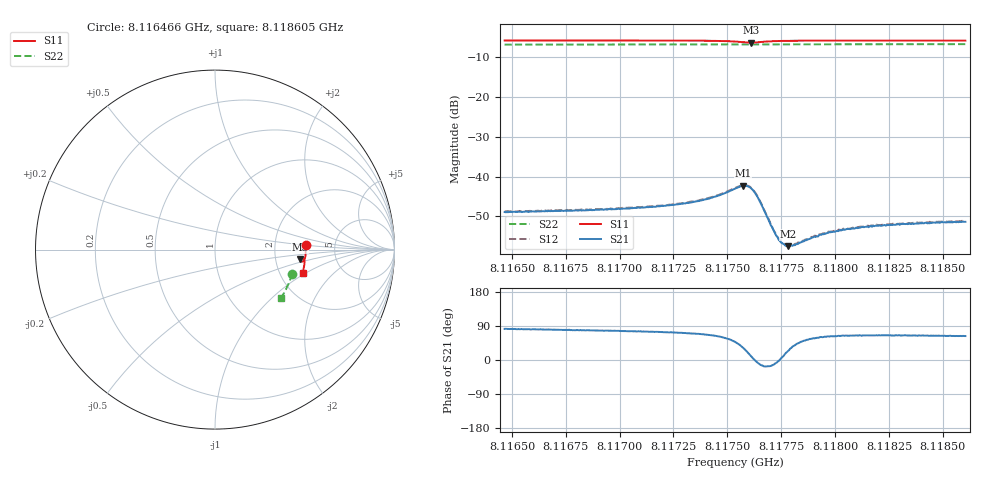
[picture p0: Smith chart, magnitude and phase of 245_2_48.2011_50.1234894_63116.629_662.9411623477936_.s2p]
#  HZ  S  RI  R  50.00
! Rohde & Schwarz Vector Network Analyzer
! Rohde-Schwarz,ZNB20-2Port,1311601062101988,3.16
! Created: UTC 3/20/2024, 11:47:01 AM
! freq[Hz]  re:S11  im:S11  re:S21  im:S21  re:S12  im:S12  re:S22  im:S22
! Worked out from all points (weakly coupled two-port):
!   401 points, 8.116466 GHz to 8.118605 GHz, reference 50 ohm
!   highest |S21| = -42.31 dB at 8.117573 GHz (marker M1); lowest = -57.4 dB at 8.117782 GHz (marker M2)
!   lowest |S11| = -6.4 dB at 8.117611 GHz (marker M3), VSWR 2.82, Z = 138 - j19.5 ohm
!   |S11| at or under -10 dB: nowhere
!   |S22| runs from -6.9 to -6.8 dB; largest |S21 - S12| = 0.00019
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8.1164662e9  0.5062 0.0236  0.000494 0.00356  0.000561 0.00363  0.4294 -0.1335
8.1168245e9  0.5063 -0.00383  0.000756 0.00366  0.000826 0.00379  0.4223 -0.1574
8.1171827e9  0.5043 -0.0323  0.00117 0.00407  0.00127 0.00412  0.4138 -0.181
8.1172843e9  0.503 -0.0411  0.00143 0.0043  0.00148 0.00434  0.411 -0.1874
8.1173752e9  0.5009 -0.0496  0.00184 0.00466  0.00193 0.00473  0.4086 -0.1934
8.1174501e9  0.4975 -0.0575  0.00256 0.00506  0.00267 0.00514  0.4063 -0.1981
8.1175357e9  0.4871 -0.0661  0.00471 0.00522  0.00488 0.00525  0.4034 -0.2037
8.1175731e9  0.4782 -0.0649  0.00649 0.00408  0.00665 0.0041  0.402 -0.2057
8.1175945e9  0.4739 -0.0599  0.0071 0.00257  0.00725 0.00256  0.4012 -0.2068
8.1176105e9  0.4735 -0.0547  0.00701 0.00123  0.00713 0.00113  0.4008 -0.2075
8.1176266e9  0.4754 -0.0498  0.00636 2.14e-05  0.00644 -7.33e-05  0.4005 -0.2083
8.1176426e9  0.4794 -0.0469  0.00535 -0.000764  0.00543 -0.00081  0.4004 -0.2092
8.1177121e9  0.4937 -0.0511  0.00213 -0.000496  0.00214 -0.000505  0.3988 -0.2137
8.1177335e9  0.4957 -0.0539  0.00173 -0.000137  0.00172 -0.000134  0.3984 -0.2151
8.1177602e9  0.4972 -0.0575  0.0014 0.00025  0.00145 0.000284  0.3976 -0.2169
8.1177816e9  0.498 -0.0602  0.00123 0.000534  0.00123 0.000552  0.397 -0.2183
8.1178137e9  0.4984 -0.064  0.00107 0.000865  0.00114 0.000877  0.3959 -0.2204
8.1178939e9  0.4989 -0.0723  0.000944 0.00143  0.000982 0.00146  0.3935 -0.2255
8.1179634e9  0.4982 -0.0787  0.000913 0.00174  0.000953 0.0017  0.3912 -0.2299
8.118049e9  0.4975 -0.086  0.000935 0.00196  0.000969 0.00197  0.3883 -0.2351
8.1182522e9  0.4945 -0.1022  0.00104 0.00225  0.00107 0.0023  0.3811 -0.2475
8.1186051e9  0.488 -0.1285  0.00122 0.00241  0.00123 0.00246  0.3682 -0.2686
